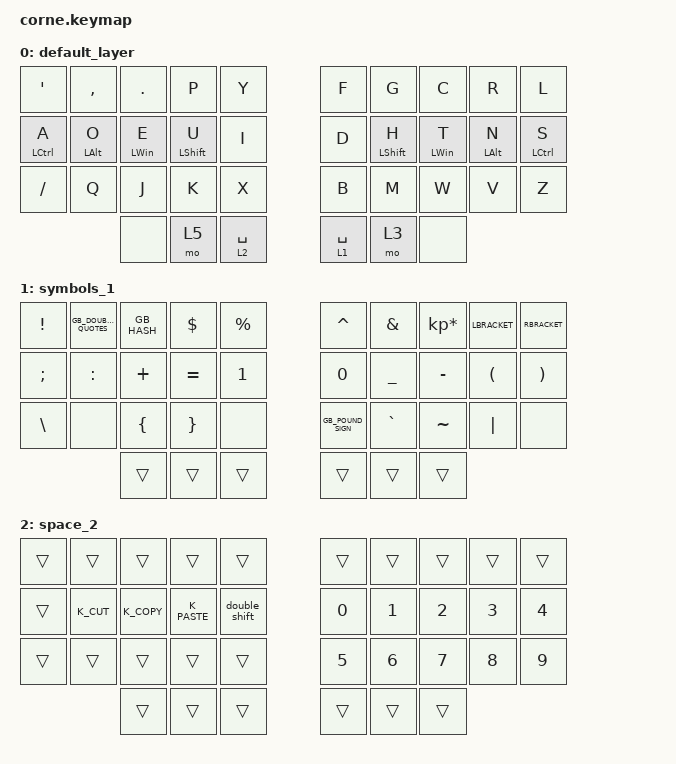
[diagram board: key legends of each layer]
/*
 * Copyright (c) 2020 The ZMK Contributors
 *
 * SPDX-License-Identifier: MIT
 */

#include <behaviors.dtsi>
#include <dt-bindings/zmk/keys.h>
#include <dt-bindings/zmk/bt.h>
#include <keys_en_gb.h>  // https://github.com/joelspadin/zmk-locale-generator/releases/tag/v1.5.0


#define AS(keycode) &as LS(keycode) keycode

/ {
    chosen {
        zmk,physical-layout = &foostan_corne_5col_layout;
    };

    behaviors {
        as: auto_shift {
            compatible = "zmk,behavior-hold-tap";
            #binding-cells = <2>;
            tapping_term_ms = <200>;
            quick_tap_ms = <0>;
            flavor = "tap-preferred";
            bindings = <&kp>, <&kp>;
        };
    };

    macros {
        double_shift: double_shift {
            compatible = "zmk,behavior-macro";
            #binding-cells = <0>;
            bindings = <&macro_tap &kp LSHFT>, <&macro_tap &kp LSHFT>;
        };
    }
    
    keymap {
        compatible = "zmk,keymap";

        default_layer {
// -------------------------------     -------------------------------
// |  '  |  ,  |  .  |  P  |  Y  |     |  F  |  G  |  C  |  R  |  L  |
// |  A  |  O  |  E  |  U  |  I  |     |  D  |  H  |  T  |  N  |  S  | 
// |  /  |  Q  |  J  |  K  |  X  |     |  B  |  M  |  W  |  V  |  Z  |
//             |     |     | SPC |     | SPC |     |     |
// 
//      Home-row mods: CTRL ALT WIN SHIFT
//
            bindings = <
                &kp SQT &kp COMMA &kp DOT &kp P &kp Y                           &kp F &kp G &kp C &kp R &kp L
                &mt LCTRL A &mt LALT O &mt LWIN E &mt LSHIFT U &kp I            &kp D &mt LSHIFT H &mt LWIN T &mt LALT N &mt LCTRL S
                &kp FSLH &kp Q &kp J &kp K &kp X                                &kp B &kp M &kp W &kp V &kp Z
                &none &mo 5 &lt 2 SPACE                                         &lt 1 SPACE &mo 3 &none
            >;
        };

        symbols_1 {
// -----------------------------------------------------------------------------------------
// |  !  |  "  |  #  |  $  |  %  |     |  ^  |  &  |  *  |  [  |  ]  |
// |  ;  |  :  |  +  |  =  |  1  |     |  0  |  _  |  -  |  (  |  )  |
// |  \  |     |  {  |  }  |  €  |     |  £  |  `  |  ~  |  |  |     |
//             | GUI |     | SPC |     | ENT | ESC | TAB |
//
            bindings = <
                &kp EXCL &kp GB_DOUBLE_QUOTES &kp GB_HASH &kp DLLR &kp PRCNT &kp CARET &kp AMPS  &kp KP_MULTIPLY &kp LBRACKET &kp RBRACKET
                &kp SEMICOLON &kp COLON &kp PLUS &kp EQUAL &kp N1 &kp N0 &kp UNDERSCORE &kp MINUS &kp LPAR &kp RPAR
                &kp BACKSLASH &none &kp LEFT_BRACE &kp RIGHT_BRACE &none &kp GB_POUND_SIGN &kp GRAVE &kp TILDE &kp PIPE &none
                &trans &trans &trans &trans &trans &trans
            >;
        };

        space_2 {
// -----------------------------------------------------------------------------------------
// |     |     |     |     |     |     |     |     |     |     |     |
// |     | CUT | CPY | PST | DSH |     |  0  |  1  |  2  |  3  |  4  |
// |     |     |     |     |     |     |  5  |  6  |  7  |  8  |  9  |
//             |     |     |     |     |     |     |     |
            bindings = <
                &trans &trans &trans &trans &trans           &trans &trans &trans &trans &trans
                &trans &K_CUT &K_COPY &K_PASTE &double_shift &kp N0 &kp N1 &kp N2 &kp N3 &kp N4
                &trans &trans &trans &trans &trans           &kp N5 &kp N6 &kp N7 &kp N8 &kp N9
                              &trans &trans &trans           &trans &trans &trans
            >;
        };

        navigate_3 {
            status = "reserved";
        };

        function_4 {
            status = "reserved";
        };
    };
};
